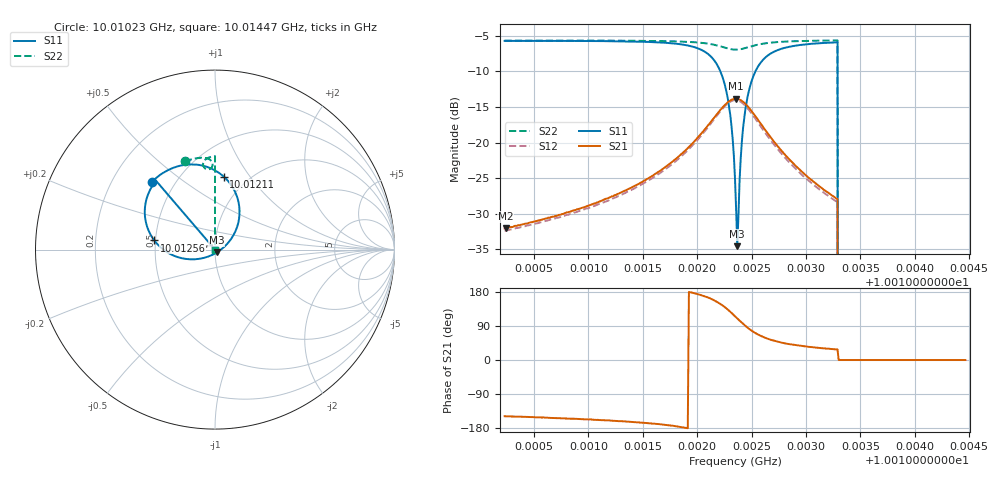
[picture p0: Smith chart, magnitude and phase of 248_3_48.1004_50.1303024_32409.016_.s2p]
#  HZ  S  RI  R  50.00
! Rohde & Schwarz Vector Network Analyzer
! Rohde-Schwarz,ZNB20-2Port,1311601062101988,3.16
! Created: UTC 12/23/2023, 3:59:29 AM
! freq[Hz]  re:S11  im:S11  re:S21  im:S21  re:S12  im:S12  re:S22  im:S22
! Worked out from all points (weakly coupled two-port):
!   401 points, 10.01023 GHz to 10.01447 GHz, reference 50 ohm
!   highest |S21| = -13.86 dB at 10.01236 GHz (marker M1); lowest = -32.0 dB at 10.01024 GHz (marker M2)
!   lowest |S11| = -34.5 dB at 10.01237 GHz (marker M3), VSWR 1.04, Z = 51 - j1.61 ohm
!   |S11| at or under -10 dB: 10.01221 GHz to 10.01254 GHz (322.7 kHz wide, 0.00322 % of centre); 10.01329 GHz to end of sweep
!   |S22| runs from - to -5.7 dB; largest |S21 - S12| = 0.0098
!   S11 on the Smith chart (normalised r, x): 10.01023 GHz: 0.37, +0.38; 10.01211 GHz: 0.78, +0.76; 10.01256 GHz: 0.49, +0.06; 10.01447 GHz: 1.00, +0.00
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1.001023e10  -0.3534 0.3773  -0.0213 -0.0131  -0.0198 -0.0136  -0.1679 0.4911
1.001024e10  -0.3526 0.3778  -0.0213 -0.0131  -0.0198 -0.0137  -0.1672 0.4914
1.0010939e10  -0.2972 0.4221  -0.0318 -0.014  -0.0298 -0.0151  -0.1213 0.505
1.0011649e10  -0.1869 0.469  -0.0613 -0.0117  -0.0585 -0.0143  -0.0674 0.5119
1.0012115e10  0.0493 0.4061  -0.1304 0.0395  -0.1287 0.0313  -0.0188 0.492
1.001221e10  0.1224 0.2958  -0.1434 0.0882  -0.1446 0.0785  -0.013 0.4742
1.0012273e10  0.1341 0.1728  -0.1341 0.1342  -0.1367 0.1259  -0.0176 0.4589
1.0012316e10  0.1022 0.0792  -0.1116 0.1654  -0.1164 0.1571  -0.026 0.4506
1.0012348e10  0.0531 0.0168  -0.0867 0.1833  -0.0915 0.176  -0.035 0.4472
1.0012358e10  0.0335 0.000251  -0.0776 0.1874  -0.0826 0.1804  -0.038 0.4471
1.0012369e10  0.0101 -0.0158  -0.0673 0.1909  -0.0723 0.184  -0.0415 0.447
1.0012379e10  -0.0126 -0.0282  -0.058 0.193  -0.0623 0.1866  -0.0445 0.4473
1.0012411e10  -0.0886 -0.0514  -0.028 0.194  -0.033 0.1877  -0.0531 0.4508
1.0012443e10  -0.1635 -0.0517  0.000136 0.1868  -0.00553 0.1811  -0.0599 0.4567
1.0012496e10  -0.2631 -0.0168  0.0343 0.1643  0.0283 0.1593  -0.0657 0.4688
1.0012559e10  -0.3382 0.051  0.0555 0.133  0.0493 0.1291  -0.0655 0.4824
1.0012771e10  -0.3904 0.2323  0.0611 0.0638  0.0557 0.063  -0.0462 0.5074
1.0013057e10  -0.358 0.3402  0.0449 0.0301  0.0414 0.0306  -0.019 0.5178
1.0013269e10  -0.3312 0.3805  0.0362 0.0193  0.0334 0.0201  -0.0015 0.5203
1.0013322e10  0 0  0 0  0 0  0 0
1.0013766e10  0 0  0 0  0 0  0 0
1.0014465e10  0 0  0 0  0 0  0 0
